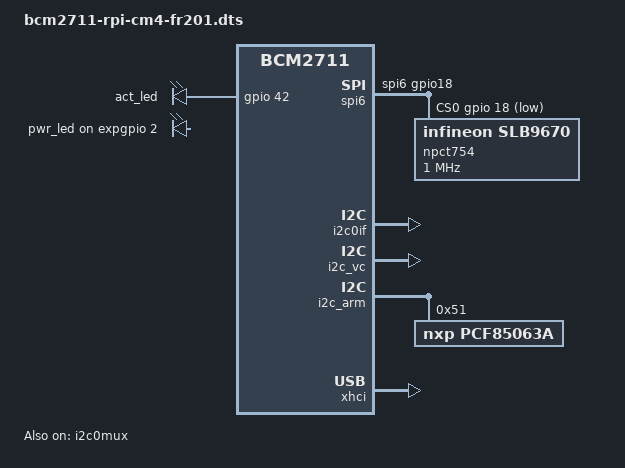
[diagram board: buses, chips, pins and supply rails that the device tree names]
#include "bcm2711-rpi-cm4.dts"

/* Nodes for OnLogic FR201 device */

/* LEDs */
/ {
	leds {
		act_led: led-act {
			default-state = "off";
			linux,default-trigger = "none";
			gpios = <&gpio 42 GPIO_ACTIVE_HIGH>;
		};

		pwr_led: led-pwr {
			default-state = "off";
			linux,default-trigger = "default-on";
			gpios = <&expgpio 2 GPIO_ACTIVE_HIGH>;
		};
	};
};

/* TPM */
&spi6 {
	compatible = "spi-gpio";
	pinctrl-names = "default";
	pinctrl-0 = <&spi6_gpio18>;
	gpio-sck = <&gpio 21 0>;
	gpio-mosi = <&gpio 20 0>;
	gpio-miso = <&gpio 19 0>;
	cs-gpios = <&gpio 18 1>;
	spi-delay-us = <0>;
	#address-cells = <1>;
	#size-cells = <0>;
	status = "okay";

	sck-gpios = <&gpio 21 0>;
	mosi-gpios = <&gpio 20 0>;
	miso-gpios = <&gpio 19 0>;
	num-chipselects = <1>;

	npct754: npct754@0 {
		compatible = "infineon,slb9670", "tis,tpm2-spi", "tcg,tpm_tis-spi";
		reg = <0>;
		#address-cells = <1>;
		#size-cells = <0>;
		status = "okay";

		/* for kernel driver */
		spi-max-frequency = <1000000>;
	};
};
&spi6_gpio18 {
	brcm,pins = <18 19 20 21>;
	brcm,function = <0>;
};
&spidev1 {
	status = "disabled";
};

/* RTC */
&i2c0if {
	status = "okay";
};
&i2c0mux {
	status = "okay";
};
&i2c_vc {
	status = "okay";
};
&i2c1_pins {
	brcm,pins = <44 45>;
	brcm,function = <6>; /* alt 2 */
};
&i2c_arm {
	#address-cells = <1>;
	#size-cells = <0>;
	status = "okay";

	pcf85063a: pcf85063a@51 {
		compatible = "nxp,pcf85063a";
		reg = <0x51>;
		status = "okay";
	};
};

/* USB */
&xhci {
	status = "okay";
};
